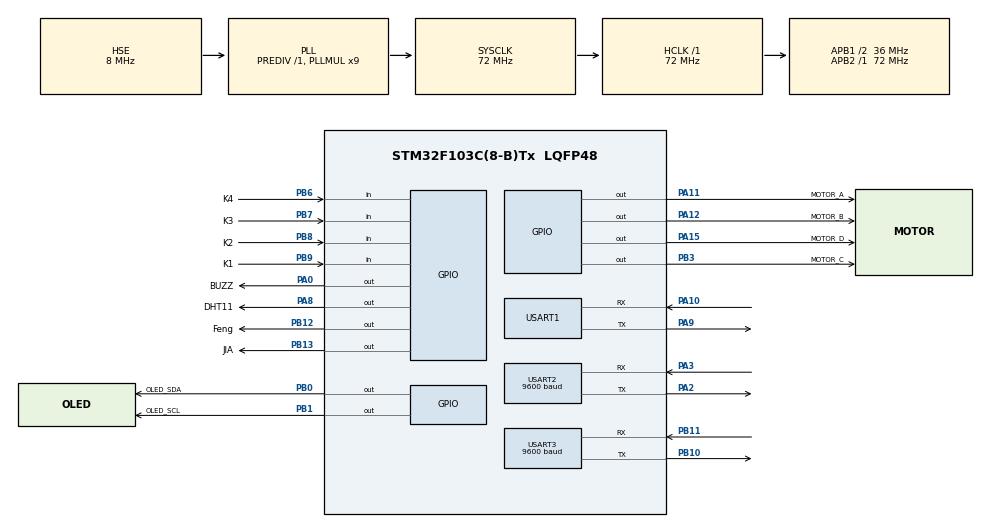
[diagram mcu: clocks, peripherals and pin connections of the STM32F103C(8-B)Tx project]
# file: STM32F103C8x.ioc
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Dma.Request0=USART3_RX
Dma.Request1=USART3_TX
Dma.USART3_RX.0.Direction=DMA_PERIPH_TO_MEMORY
Dma.USART3_RX.0.Instance=DMA1_Channel3
Dma.USART3_RX.0.MemDataAlignment=DMA_MDATAALIGN_BYTE
Dma.USART3_RX.0.MemInc=DMA_MINC_ENABLE
Dma.USART3_RX.0.Mode=DMA_NORMAL
Dma.USART3_RX.0.PeriphDataAlignment=DMA_PDATAALIGN_BYTE
Dma.USART3_RX.0.PeriphInc=DMA_PINC_DISABLE
Dma.USART3_RX.0.Priority=DMA_PRIORITY_LOW
Dma.USART3_TX.1.Direction=DMA_MEMORY_TO_PERIPH
Dma.USART3_TX.1.Instance=DMA1_Channel2
Dma.USART3_TX.1.MemDataAlignment=DMA_MDATAALIGN_BYTE
Dma.USART3_TX.1.MemInc=DMA_MINC_ENABLE
Dma.USART3_TX.1.Mode=DMA_NORMAL
Dma.USART3_TX.1.PeriphDataAlignment=DMA_PDATAALIGN_BYTE
Dma.USART3_TX.1.PeriphInc=DMA_PINC_DISABLE
Dma.USART3_TX.1.Priority=DMA_PRIORITY_LOW
Mcu.Family=STM32F1
Mcu.Name=STM32F103C(8-B)Tx
Mcu.Package=LQFP48
NVIC.DMA1_Channel2_IRQn=true\:0\:0\:false\:false\:true\:false\:true\:true
NVIC.DMA1_Channel3_IRQn=true\:0\:0\:false\:false\:true\:false\:true\:true
NVIC.PriorityGroup=NVIC_PRIORITYGROUP_4
NVIC.TIM2_IRQn=true\:1\:0\:true\:true\:true\:1\:true\:true\:true
NVIC.USART2_IRQn=true\:0\:0\:false\:true\:true\:2\:true\:true\:true
NVIC.USART3_IRQn=true\:0\:0\:false\:false\:true\:true\:true\:true
PA0-WKUP.GPIO_Label=BUZZ
PA0-WKUP.GPIO_ModeDefaultOutputPP=GPIO_MODE_OUTPUT_PP
PA0-WKUP.GPIO_Speed=GPIO_SPEED_FREQ_HIGH
PA0-WKUP.PinState=GPIO_PIN_RESET
PA0-WKUP.Signal=GPIO_Output
PA10.Mode=Asynchronous
PA10.Signal=USART1_RX
PA11.GPIO_Label=MOTOR_A
PA11.GPIO_ModeDefaultOutputPP=GPIO_MODE_OUTPUT_PP
PA11.GPIO_Speed=GPIO_SPEED_FREQ_HIGH
PA11.PinState=GPIO_PIN_RESET
PA11.Signal=GPIO_Output
PA12.GPIO_Label=MOTOR_B
PA12.GPIO_ModeDefaultOutputPP=GPIO_MODE_OUTPUT_PP
PA12.GPIO_Speed=GPIO_SPEED_FREQ_HIGH
PA12.PinState=GPIO_PIN_RESET
PA12.Signal=GPIO_Output
PA13.Mode=Serial_Wire
PA13.Signal=SYS_JTMS-SWDIO
PA14.Mode=Serial_Wire
PA14.Signal=SYS_JTCK-SWCLK
PA15.GPIO_Label=MOTOR_D
PA15.GPIO_ModeDefaultOutputPP=GPIO_MODE_OUTPUT_PP
PA15.GPIO_Speed=GPIO_SPEED_FREQ_HIGH
PA15.PinState=GPIO_PIN_RESET
PA15.Signal=GPIO_Output
PA2.Mode=Asynchronous
PA2.Signal=USART2_TX
PA3.Mode=Asynchronous
PA3.Signal=USART2_RX
PA8.GPIO_Label=DHT11
PA8.GPIO_ModeDefaultOutputPP=GPIO_MODE_OUTPUT_PP
PA8.GPIO_Speed=GPIO_SPEED_FREQ_HIGH
PA8.PinState=GPIO_PIN_SET
PA8.Signal=GPIO_Output
PA9.Mode=Asynchronous
PA9.Signal=USART1_TX
PB0.GPIO_Label=OLED_SDA
PB0.GPIO_ModeDefaultOutputPP=GPIO_MODE_OUTPUT_PP
PB0.GPIO_Speed=GPIO_SPEED_FREQ_HIGH
PB0.PinState=GPIO_PIN_RESET
PB0.Signal=GPIO_Output
PB1.GPIO_Label=OLED_SCL
PB1.GPIO_ModeDefaultOutputPP=GPIO_MODE_OUTPUT_PP
PB1.GPIO_Speed=GPIO_SPEED_FREQ_HIGH
PB1.PinState=GPIO_PIN_SET
PB1.Signal=GPIO_Output
PB10.Mode=Asynchronous
PB10.Signal=USART3_TX
PB11.Mode=Asynchronous
PB11.Signal=USART3_RX
PB12.GPIO_Label=Feng
PB12.GPIO_ModeDefaultOutputPP=GPIO_MODE_OUTPUT_PP
PB12.GPIO_Speed=GPIO_SPEED_FREQ_HIGH
PB12.PinState=GPIO_PIN_RESET
PB12.Signal=GPIO_Output
PB13.GPIO_Label=JIA
PB13.GPIO_ModeDefaultOutputPP=GPIO_MODE_OUTPUT_PP
PB13.GPIO_Speed=GPIO_SPEED_FREQ_HIGH
PB13.PinState=GPIO_PIN_RESET
PB13.Signal=GPIO_Output
PB3.GPIO_Label=MOTOR_C
PB3.GPIO_ModeDefaultOutputPP=GPIO_MODE_OUTPUT_PP
PB3.GPIO_Speed=GPIO_SPEED_FREQ_HIGH
PB3.PinState=GPIO_PIN_RESET
PB3.Signal=GPIO_Output
PB6.GPIO_Label=K4
PB6.GPIO_Mode=GPIO_MODE_INPUT
PB6.GPIO_PuPd=GPIO_PULLUP
PB6.Signal=GPIO_Input
PB7.GPIO_Label=K3
PB7.GPIO_Mode=GPIO_MODE_INPUT
PB7.GPIO_PuPd=GPIO_PULLUP
PB7.Signal=GPIO_Input
PB8.GPIO_Label=K2
PB8.GPIO_Mode=GPIO_MODE_INPUT
PB8.GPIO_PuPd=GPIO_PULLUP
PB8.Signal=GPIO_Input
PB9.GPIO_Label=K1
PB9.GPIO_Mode=GPIO_MODE_INPUT
PB9.GPIO_PuPd=GPIO_PULLUP
PB9.Signal=GPIO_Input
PD0-OSC_IN.Mode=HSE-External-Oscillator
PD0-OSC_IN.Signal=RCC_OSC_IN
PD1-OSC_OUT.Mode=HSE-External-Oscillator
PD1-OSC_OUT.Signal=RCC_OSC_OUT
ProjectManager.HeapSize=0x800
ProjectManager.StackSize=0x2000
ProjectManager.TargetToolchain=MDK-ARM V5
RCC.AHBFreq_Value=72000000
RCC.APB1CLKDivider=RCC_HCLK_DIV2
RCC.APB1Freq_Value=36000000
RCC.APB1TimFreq_Value=72000000
RCC.APB2Freq_Value=72000000
RCC.APB2TimFreq_Value=72000000
RCC.HCLKFreq_Value=72000000
RCC.PLLMUL=RCC_PLL_MUL9
RCC.PLLSourceVirtual=RCC_PLLSOURCE_HSE
RCC.SYSCLKFreq_VALUE=72000000
RCC.SYSCLKSource=RCC_SYSCLKSOURCE_PLLCLK
RCC.USBFreq_Value=72000000
TIM2.Period=10-1
TIM2.Prescaler=7200-1
USART1.VirtualMode=VM_ASYNC
USART2.BaudRate=9600
USART2.VirtualMode=VM_ASYNC
USART3.BaudRate=9600
USART3.VirtualMode=VM_ASYNC
VP_TIM2_VS_ClockSourceINT.Mode=Internal
board=STM32F103C8x

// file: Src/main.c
/**
  ******************************************************************************
  * File Name          : main.c
  * Description        : Main program body
  ******************************************************************************
  ** This notice applies to any and all portions of this file
  * that are not between comment pairs USER CODE BEGIN and
  * USER CODE END. Other portions of this file, whether
  * inserted by the user or by software development tools
  * are owned by their respective copyright owners.
  *
  * COPYRIGHT(c) 2025 STMicroelectronics
  *
  * Redistribution and use in source and binary forms, with or without modification,
  * are permitted provided that the following conditions are met:
  *   1. Redistributions of source code must retain the above copyright notice,
  *      this list of conditions and the following disclaimer.
  *   2. Redistributions in binary form must reproduce the above copyright notice,
  *      this list of conditions and the following disclaimer in the documentation
  *      and/or other materials provided with the distribution.
  *   3. Neither the name of STMicroelectronics nor the names of its contributors
  *      may be used to endorse or promote products derived from this software
  *      without specific prior written permission.
  *
  * THIS SOFTWARE IS PROVIDED BY THE COPYRIGHT HOLDERS AND CONTRIBUTORS "AS IS"
  * AND ANY EXPRESS OR IMPLIED WARRANTIES, INCLUDING, BUT NOT LIMITED TO, THE
  * IMPLIED WARRANTIES OF MERCHANTABILITY AND FITNESS FOR A PARTICULAR PURPOSE ARE
  * DISCLAIMED. IN NO EVENT SHALL THE COPYRIGHT HOLDER OR CONTRIBUTORS BE LIABLE
  * FOR ANY DIRECT, INDIRECT, INCIDENTAL, SPECIAL, EXEMPLARY, OR CONSEQUENTIAL
  * DAMAGES (INCLUDING, BUT NOT LIMITED TO, PROCUREMENT OF SUBSTITUTE GOODS OR
  * SERVICES; LOSS OF USE, DATA, OR PROFITS; OR BUSINESS INTERRUPTION) HOWEVER
  * CAUSED AND ON ANY THEORY OF LIABILITY, WHETHER IN CONTRACT, STRICT LIABILITY,
  * OR TORT (INCLUDING NEGLIGENCE OR OTHERWISE) ARISING IN ANY WAY OUT OF THE USE
  * OF THIS SOFTWARE, EVEN IF ADVISED OF THE POSSIBILITY OF SUCH DAMAGE.
  *
  ******************************************************************************
  */
#include "main.h"
#include "stm32f1xx_hal.h"

/* USER CODE BEGIN Includes */
#include "hal_key.h"
#include "gizwits_product.h"
#include "common.h"

#include "dht11.h"
#include "OLED.h"
#include "motor.h"
/* USER CODE END Includes */

TIM_HandleTypeDef htim2;

UART_HandleTypeDef huart1;
UART_HandleTypeDef huart2;
UART_HandleTypeDef huart3;
DMA_HandleTypeDef hdma_usart3_rx;
DMA_HandleTypeDef hdma_usart3_tx;

/* USER CODE BEGIN PV */
/* Private variables ---------------------------------------------------------*/

char timerFlag_1ms = 0;
char timerFlag_10ms = 0;
char timerFlag_1000ms = 0;

 char Mode = 1 ;
 uint8_t Temp , Humi ;
 char Set_Mode = 0;
 uint8_t Temp_HIGHT=30,Temp_LOW=20;
 uint8_t Humi_HIGHT=80,Humi_LOW=40;
 uint16_t CO2_HIGHT =400;
 uint16_t CO2_x  =  0;

 char Flay_num = 2;
 char FLay_num_last =0  ;
 u8 motor_flag;

/* USER CODE END PV */

void SystemClock_Config(void);
static void MX_GPIO_Init(void);
static void MX_DMA_Init(void);
static void MX_TIM2_Init(void);
static void MX_USART1_UART_Init(void);
static void MX_USART2_UART_Init(void);
static void MX_USART3_UART_Init(void);
static void MX_NVIC_Init(void);

/* USER CODE BEGIN PFP */
/* Private function prototypes -----------------------------------------------*/
void softwareTimer(void);
void openBuzzerimer(int time);
void usart3(void);

char KEY_scanf(void);

void GET_DATA(void)
{
   DHT11_Read_Data(&Temp,&Humi);
}

void Meun_Show(void)
{

    //显示“温度：  C”
	OLED_ShowChinese(3,1,8);OLED_ShowChinese(3,2,9); OLED_ShowChinese(3,5,10);OLED_ShowChinese(3,6,9);
    //显示“二氧化碳： ”
    OLED_ShowChinese(4, 1, 24);OLED_ShowChinese(4, 2, 25);OLED_ShowChinese(4, 3, 26);OLED_ShowChinese(4, 4, 27);

    if(Mode == 1)
    {
        OLED_ShowChinese(2, 6, 23);
		OLED_ShowChinese(2, 7, 22);
    }
}

void Vol_Mode(void)
{

    if(CO2_x>CO2_HIGHT)
    {
        //打开通风口
			if(motor_flag==0)
			{
       Stepper_Move(1,512);
				motor_flag=1;
			}
    }
    else{
        //关闭通风口
			if(motor_flag==1)
			{
        Stepper_Move(0,512);
				motor_flag=0;
			}
    }
}

void Set_show(void)
{
    //界面标题
    OLED_ShowChinese(1, 1, 17);OLED_ShowChinese(1, 2, 18);OLED_ShowChinese(1, 3, 30);OLED_ShowChinese(1, 4, 31);
    OLED_ShowChinese(1, 5, 32);OLED_ShowChinese(1, 6, 33);OLED_ShowChinese(1, 7, 34);OLED_ShowChinese(1, 8, 35);
}

void Temp_set_show(void)
{
	OLED_ShowString(2, 3, "  ");
    //显示“温度上限：”
	OLED_ShowChinese(2, 3, 8);OLED_ShowChinese(2, 4, 9);OLED_ShowChinese(2, 5, 36);OLED_ShowChinese(2, 6, 37);
	OLED_ShowChar(2, 11, ':');

}

void Humi_set_show(void)
{

	//显示“湿度下限：”
	OLED_ShowChinese(3, 3, 10);OLED_ShowChinese(3, 4, 9);OLED_ShowChinese(3, 5, 38);OLED_ShowChinese(3, 6, 39);
	OLED_ShowChar(3, 11, ':');
}

void CO2_set_show(void)
{
    //显示“二氧化碳：”
	OLED_ShowChinese(2, 2, 24);OLED_ShowChinese(2, 3, 25);OLED_ShowChinese(2, 4, 26);OLED_ShowChinese(2, 5, 27);
	OLED_ShowChar(2, 11, ':');
}

/*****二氧化碳读取*******/
//void JIAN_call (unsigned char *buffer)
//{
//   if (buffer[0] == 0x2C)
//   {
//       CO2_x= buffer[1]+buffer[2]*256;
//   }
//}

void usart3(void)
{
    static char  RxState = 0 ;
	if (USART3_RX_STA == 1)
	{
		USART3_RX_STA = 0;
        /*
            HAL_UART_Transmit_IT(&huart3,u3NewBuffer,sizeof u3NewBuffer);   串口接收调试口
            memset(u3NewBuffer, '\0', strlen((char *)u3NewBuffer)); // 清除数据
            对串口进行调试的时候请关闭清楚函数 ,否者发送的数据会出现问题
            使用方法：
            1、将需要进行测试的串口，通过USB-TTL接入电脑打开串口助手 bps9600。
            2、在串口3的uart3()函数中打开 HAL_UART_Transmit_IT 注释清除数据。
            3、电脑发送数据并且查看接收的数据是否完整。
        */
       switch(RxState)
       {

           case 0:
               if(u3NewBuffer[5] == (uint8_t)(u3NewBuffer[0] + u3NewBuffer[1]+ u3NewBuffer[2] + u3NewBuffer[3] + u3NewBuffer[4]))	//验证接收到的数据是否正确
               {
                  RxState = 0;
                  CO2_x = u3NewBuffer[1]*256+u3NewBuffer[2];
               }
               else
               {
                   RxState = 0;
               }
       }
	}
}

/* USER CODE END PFP */

int main(void)
{

  /* USER CODE BEGIN 1 */
    char  key_NUM  = 0 ;
    static char operation = 0 ;
    static char flay=0,flay_1=0,flay_2=0;

  /* USER CODE END 1 */

  /* MCU Configuration----------------------------------------------------------*/

  /* Reset of all peripherals, Initializes the Flash interface and the Systick. */
  HAL_Init();

  /* Configure the system clock */
  SystemClock_Config();

  /* Initialize all configured peripherals */
  MX_GPIO_Init();
  MX_DMA_Init();
  MX_TIM2_Init();
  MX_USART1_UART_Init();
  MX_USART2_UART_Init();
  MX_USART3_UART_Init();

  /* Initialize interrupts */
  MX_NVIC_Init();

  /* USER CODE BEGIN 2 */
    timerInit();
    uartInit();

    OLED_Init();
    OLED_Clear();

    CZL_USART_UART_Init(huart3);//uart3串口初始化,开启DMA接收
    GIZWITS_LOG("MCU Init Success , SoftVersion = %s\r\n",SOFTWARE_VERSION);

  /* USER CODE END 2 */

  /* Infinite loop */
  /* USER CODE BEGIN WHILE */
    while (1)
    {

          key_NUM = KEY_scanf();
           // 数据读取
          if(timerFlag_1ms  != 0 )
		  {
				timerFlag_1ms = 0;
                GET_DATA();
					if(Mode == 1)//自动模式
					{
						Vol_Mode(); // 上电默认为自动模式
					}
						softwareTimer();
		  }

           if(key_NUM > 0)
           {
               if(key_NUM  ==  1)
               {
                   Mode++;
                   if(Mode >3)
                   {
                       if(flay_2==0)
                       {
                           flay_2=~flay_2;
                           OLED_Clear();
                       }
                       flay=~flay;
                       flay_1=~flay_1;
                       flay_2=~flay_2;
                       Mode =1;
                       Set_Mode =0;
                   }
               }

               if(Mode ==3) //设置值模式
               {

                   if(Set_Mode ==0)
                   {
                       if(key_NUM ==2)
                       {
                           Temp_HIGHT++;
                       }
                       if(key_NUM ==3)
                       {
                           Temp_HIGHT--;
                       }
                       Temp_set_show();
                       OLED_ShowChar(2,2,'>');
                       WS_OLED_Printf(2,12,"%d    ",Temp_HIGHT);
                       WS_OLED_Printf(3,12,"%d    ",Temp_LOW);
                   }

                   if(Set_Mode ==3)
                   {
                        if(key_NUM ==2)
                       {
                           Humi_LOW++;
                       }
                       if(key_NUM ==3)
                       {
                           Humi_LOW--;
                       }

                       Humi_set_show();
                       OLED_ShowChar(2,2,' ');
                       OLED_ShowChar(3,2,'>');
                       WS_OLED_Printf(2,12,"%d    ",Humi_HIGHT);
                       WS_OLED_Printf(3,12,"%d    ",Humi_LOW);
                   }

               }
                openBuzzerimer(1);
           }
  /* USER CODE END WHILE */

  /* USER CODE BEGIN 3 */
        userHandle();
        gizwitsHandle((dataPoint_t *)&currentDataPoint);
    }
  /* USER CODE END 3 */

}

/** System Clock Configuration
*/
void SystemClock_Config(void)
{

  RCC_OscInitTypeDef RCC_OscInitStruct;
  RCC_ClkInitTypeDef RCC_ClkInitStruct;

    /**Initializes the CPU, AHB and APB busses clocks
    */
  RCC_OscInitStruct.OscillatorType = RCC_OSCILLATORTYPE_HSE;
  RCC_OscInitStruct.HSEState = RCC_HSE_ON;
  RCC_OscInitStruct.HSEPredivValue = RCC_HSE_PREDIV_DIV1;
  RCC_OscInitStruct.HSIState = RCC_HSI_ON;
  RCC_OscInitStruct.PLL.PLLState = RCC_PLL_ON;
  RCC_OscInitStruct.PLL.PLLSource = RCC_PLLSOURCE_HSE;
  RCC_OscInitStruct.PLL.PLLMUL = RCC_PLL_MUL9;
  if (HAL_RCC_OscConfig(&RCC_OscInitStruct) != HAL_OK)
  {
    _Error_Handler(__FILE__, __LINE__);
  }

    /**Initializes the CPU, AHB and APB busses clocks
    */
  RCC_ClkInitStruct.ClockType = RCC_CLOCKTYPE_HCLK|RCC_CLOCKTYPE_SYSCLK
                              |RCC_CLOCKTYPE_PCLK1|RCC_CLOCKTYPE_PCLK2;
  RCC_ClkInitStruct.SYSCLKSource = RCC_SYSCLKSOURCE_PLLCLK;
  RCC_ClkInitStruct.AHBCLKDivider = RCC_SYSCLK_DIV1;
  RCC_ClkInitStruct.APB1CLKDivider = RCC_HCLK_DIV2;
  RCC_ClkInitStruct.APB2CLKDivider = RCC_HCLK_DIV1;

  if (HAL_RCC_ClockConfig(&RCC_ClkInitStruct, FLASH_LATENCY_2) != HAL_OK)
  {
    _Error_Handler(__FILE__, __LINE__);
  }

    /**Configure the Systick interrupt time
    */
  HAL_SYSTICK_Config(HAL_RCC_GetHCLKFreq()/1000);

    /**Configure the Systick
    */
  HAL_SYSTICK_CLKSourceConfig(SYSTICK_CLKSOURCE_HCLK);

  /* SysTick_IRQn interrupt configuration */
  HAL_NVIC_SetPriority(SysTick_IRQn, 0, 0);
}

/** NVIC Configuration
*/
static void MX_NVIC_Init(void)
{
  /* TIM2_IRQn interrupt configuration */
  HAL_NVIC_SetPriority(TIM2_IRQn, 1, 0);
  HAL_NVIC_EnableIRQ(TIM2_IRQn);
  /* USART2_IRQn interrupt configuration */
}

/* TIM2 init function */
static void MX_TIM2_Init(void)
{

  TIM_ClockConfigTypeDef sClockSourceConfig;
  TIM_MasterConfigTypeDef sMasterConfig;

  htim2.Instance = TIM2;
  htim2.Init.Prescaler = 7200-1;
  htim2.Init.CounterMode = TIM_COUNTERMODE_UP;
  htim2.Init.Period = 10-1;
  if (HAL_TIM_Base_Init(&htim2) != HAL_OK)
  {
    _Error_Handler(__FILE__, __LINE__);
  }

  sClockSourceConfig.ClockSource = TIM_CLOCKSOURCE_INTERNAL;
  if (HAL_TIM_ConfigClockSource(&htim2, &sClockSourceConfig) != HAL_OK)
  {
    _Error_Handler(__FILE__, __LINE__);
  }

  sMasterConfig.MasterOutputTrigger = TIM_TRGO_RESET;
  sMasterConfig.MasterSlaveMode = TIM_MASTERSLAVEMODE_DISABLE;
  if (HAL_TIMEx_MasterConfigSynchronization(&htim2, &sMasterConfig) != HAL_OK)
  {
    _Error_Handler(__FILE__, __LINE__);
  }

}

/* USART1 init function */
static void MX_USART1_UART_Init(void)
{

  huart1.Instance = USART1;
  huart1.Init.BaudRate = 115200;
  huart1.Init.WordLength = UART_WORDLENGTH_8B;
  huart1.Init.StopBits = UART_STOPBITS_1;
  huart1.Init.Parity = UART_PARITY_NONE;
  huart1.Init.Mode = UART_MODE_TX_RX;
  huart1.Init.HwFlowCtl = UART_HWCONTROL_NONE;
  huart1.Init.OverSampling = UART_OVERSAMPLING_16;
  if (HAL_UART_Init(&huart1) != HAL_OK)
  {
    _Error_Handler(__FILE__, __LINE__);
  }

}

/* USART2 init function */
static void MX_USART2_UART_Init(void)
{

  huart2.Instance = USART2;
  huart2.Init.BaudRate = 9600;
  huart2.Init.WordLength = UART_WORDLENGTH_8B;
  huart2.Init.StopBits = UART_STOPBITS_1;
  huart2.Init.Parity = UART_PARITY_NONE;
  if (HAL_UART_Init(&huart2) != HAL_OK)
  {
    _Error_Handler(__FILE__, __LINE__);
  }

}

/* USART3 init function */
static void MX_USART3_UART_Init(void)
{

  huart3.Instance = USART3;
  huart3.Init.BaudRate = 9600;
  huart3.Init.WordLength = UART_WORDLENGTH_8B;
  huart3.Init.StopBits = UART_STOPBITS_1;
  huart3.Init.Parity = UART_PARITY_NONE;
  huart3.Init.Mode = UART_MODE_TX_RX;
  huart3.Init.HwFlowCtl = UART_HWCONTROL_NONE;
  huart3.Init.OverSampling = UART_OVERSAMPLING_16;
  if (HAL_UART_Init(&huart3) != HAL_OK)
  {
    _Error_Handler(__FILE__, __LINE__);
  }

}

static void MX_DMA_Init(void)
{
  /* DMA controller clock enable */
  __HAL_RCC_DMA1_CLK_ENABLE();

  /* DMA interrupt init */
  /* DMA1_Channel2_IRQn interrupt configuration */
  HAL_NVIC_SetPriority(DMA1_Channel2_IRQn, 0, 0);
  HAL_NVIC_EnableIRQ(DMA1_Channel2_IRQn);
  /* DMA1_Channel3_IRQn interrupt configuration */
  HAL_NVIC_SetPriority(DMA1_Channel3_IRQn, 0, 0);
  HAL_NVIC_EnableIRQ(DMA1_Channel3_IRQn);

}

/** Configure pins as
        * Analog
        * Input
        * Output
        * EVENT_OUT
        * EXTI
*/
static void MX_GPIO_Init(void)
{

  GPIO_InitTypeDef GPIO_InitStruct;
  __HAL_AFIO_REMAP_SWJ_NOJTAG();

  /* GPIO Ports Clock Enable */
  __HAL_RCC_GPIOD_CLK_ENABLE();
  __HAL_RCC_GPIOA_CLK_ENABLE();
  __HAL_RCC_GPIOB_CLK_ENABLE();

  /*Configure GPIO pin Output Level */
  HAL_GPIO_WritePin(GPIOA, BUZZ_Pin|MOTOR_A_Pin|MOTOR_B_Pin|MOTOR_D_Pin, GPIO_PIN_RESET);

  /*Configure GPIO pin Output Level */
  HAL_GPIO_WritePin(GPIOB, OLED_SDA_Pin|Feng_Pin|JIA_Pin|MOTOR_C_Pin, GPIO_PIN_RESET);

  /*Configure GPIO pin Output Level */
  HAL_GPIO_WritePin(OLED_SCL_GPIO_Port, OLED_SCL_Pin, GPIO_PIN_SET);

  /*Configure GPIO pin Output Level */
  HAL_GPIO_WritePin(DHT11_GPIO_Port, DHT11_Pin, GPIO_PIN_SET);

  /*Configure GPIO pins : BUZZ_Pin DHT11_Pin MOTOR_A_Pin MOTOR_B_Pin
                           MOTOR_D_Pin */
  GPIO_InitStruct.Pin = BUZZ_Pin|DHT11_Pin|MOTOR_A_Pin|MOTOR_B_Pin
                          |MOTOR_D_Pin;
  GPIO_InitStruct.Mode = GPIO_MODE_OUTPUT_PP;
  GPIO_InitStruct.Speed = GPIO_SPEED_FREQ_HIGH;
  HAL_GPIO_Init(GPIOA, &GPIO_InitStruct);

  /*Configure GPIO pins : OLED_SDA_Pin OLED_SCL_Pin Feng_Pin JIA_Pin
                           MOTOR_C_Pin */
  GPIO_InitStruct.Pin = OLED_SDA_Pin|OLED_SCL_Pin|Feng_Pin|JIA_Pin
                          |MOTOR_C_Pin;
  GPIO_InitStruct.Mode = GPIO_MODE_OUTPUT_PP;

  /*Configure GPIO pins : K4_Pin K3_Pin K2_Pin K1_Pin */
  GPIO_InitStruct.Pin = K4_Pin|K3_Pin|K2_Pin|K1_Pin;
  GPIO_InitStruct.Mode = GPIO_MODE_INPUT;
  GPIO_InitStruct.Pull = GPIO_PULLUP;
  HAL_GPIO_Init(GPIOB, &GPIO_InitStruct);

}

/* USER CODE BEGIN 4 */
char KEY_scanf(void)
{
            uint8_t KeyNum = 0;
            if (HAL_GPIO_ReadPin(GPIOB, K1_Pin) == 0)
            {
                HAL_Delay(20);
                while (HAL_GPIO_ReadPin(GPIOB, K1_Pin) == 0);
                HAL_Delay(20);
                KeyNum = 1;
            }

            return KeyNum;
}

void softwareTimer_IRQ(void) // 1ms定时中断
{
	static char count_10ms = 0;
	static int count_1000ms = 0;
	if (++count_10ms == 10)
	{
		count_10ms = 0;
		timerFlag_10ms = 1;
	}
	if (++count_1000ms == 100)
	{
		count_1000ms = 0;
		timerFlag_1000ms = 1;
	}
	timerFlag_1ms = 1;
}

int  buzzerTimerCount = 0;
//  控制蜂鸣器打开时间的函数
//  time:  打开时间，单位MS
void openBuzzerimer(int time)
{
     HAL_GPIO_WritePin(BUZZ_GPIO_Port,BUZZ_Pin,GPIO_PIN_SET)  ;
	 buzzerTimerCount = time ;
}
// 软件定时器 ，  定时调用，间隔1MS
void softwareTimer(void)
{
   if(buzzerTimerCount > 0)
		{
		  if( -- buzzerTimerCount == 0)
			{
                HAL_GPIO_WritePin(BUZZ_GPIO_Port,BUZZ_Pin,GPIO_PIN_RESET)  ;
			}
		}
}
/* USER CODE END 4 */

void _Error_Handler(char * file, int line)
{
    while(1)
    {
    }
}

/************************ (C) COPYRIGHT STMicroelectronics *****END OF FILE****/
